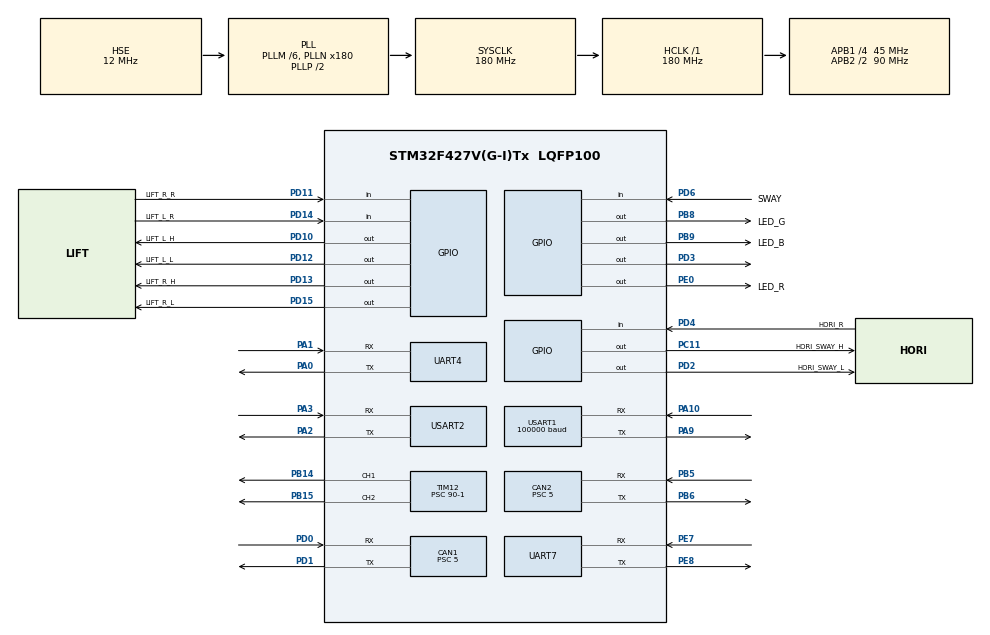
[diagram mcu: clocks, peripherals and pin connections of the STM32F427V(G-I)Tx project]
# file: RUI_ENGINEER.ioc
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CAN1.ABOM=ENABLE
CAN1.BS1=CAN_BS1_6TQ
CAN1.BS2=CAN_BS2_2TQ
CAN1.CalculateBaudRate=1000000
CAN1.CalculateTimeBit=1000
CAN1.CalculateTimeQuantum=111.11111111111111
CAN1.Prescaler=5
CAN2.ABOM=ENABLE
CAN2.BS1=CAN_BS1_6TQ
CAN2.BS2=CAN_BS2_2TQ
CAN2.CalculateBaudRate=1000000
CAN2.CalculateTimeBit=1000
CAN2.CalculateTimeQuantum=111.11111111111111
CAN2.Prescaler=5
Dma.Request0=USART1_RX
Dma.Request1=USART2_TX
Dma.Request2=USART2_RX
Dma.Request3=UART4_RX
Dma.UART4_RX.3.Direction=DMA_PERIPH_TO_MEMORY
Dma.UART4_RX.3.FIFOMode=DMA_FIFOMODE_DISABLE
Dma.UART4_RX.3.Instance=DMA1_Stream2
Dma.UART4_RX.3.MemDataAlignment=DMA_MDATAALIGN_BYTE
Dma.UART4_RX.3.MemInc=DMA_MINC_ENABLE
Dma.UART4_RX.3.Mode=DMA_NORMAL
Dma.UART4_RX.3.PeriphDataAlignment=DMA_PDATAALIGN_BYTE
Dma.UART4_RX.3.PeriphInc=DMA_PINC_DISABLE
Dma.UART4_RX.3.Priority=DMA_PRIORITY_LOW
Dma.USART1_RX.0.Direction=DMA_PERIPH_TO_MEMORY
Dma.USART1_RX.0.FIFOMode=DMA_FIFOMODE_DISABLE
Dma.USART1_RX.0.Instance=DMA2_Stream2
Dma.USART1_RX.0.MemDataAlignment=DMA_MDATAALIGN_BYTE
Dma.USART1_RX.0.MemInc=DMA_MINC_ENABLE
Dma.USART1_RX.0.Mode=DMA_NORMAL
Dma.USART1_RX.0.PeriphDataAlignment=DMA_PDATAALIGN_BYTE
Dma.USART1_RX.0.PeriphInc=DMA_PINC_DISABLE
Dma.USART1_RX.0.Priority=DMA_PRIORITY_LOW
Dma.USART2_RX.2.Direction=DMA_PERIPH_TO_MEMORY
Dma.USART2_RX.2.FIFOMode=DMA_FIFOMODE_DISABLE
Dma.USART2_RX.2.Instance=DMA1_Stream5
Dma.USART2_RX.2.MemDataAlignment=DMA_MDATAALIGN_BYTE
Dma.USART2_RX.2.MemInc=DMA_MINC_ENABLE
Dma.USART2_RX.2.Mode=DMA_NORMAL
Dma.USART2_RX.2.PeriphDataAlignment=DMA_PDATAALIGN_BYTE
Dma.USART2_RX.2.PeriphInc=DMA_PINC_DISABLE
Dma.USART2_RX.2.Priority=DMA_PRIORITY_LOW
Dma.USART2_TX.1.Direction=DMA_MEMORY_TO_PERIPH
Dma.USART2_TX.1.FIFOMode=DMA_FIFOMODE_DISABLE
Dma.USART2_TX.1.Instance=DMA1_Stream6
Dma.USART2_TX.1.MemDataAlignment=DMA_MDATAALIGN_BYTE
Dma.USART2_TX.1.MemInc=DMA_MINC_ENABLE
Dma.USART2_TX.1.Mode=DMA_NORMAL
Dma.USART2_TX.1.PeriphDataAlignment=DMA_PDATAALIGN_BYTE
Dma.USART2_TX.1.PeriphInc=DMA_PINC_DISABLE
Dma.USART2_TX.1.Priority=DMA_PRIORITY_LOW
FREERTOS.INCLUDE_vTaskDelayUntil=1
FREERTOS.Tasks01=read_task,0,256,Start_read,As weak,NULL,Dynamic,NULL,NULL;head_task,0,256,Start_head,As weak,NULL,Dynamic,NULL,NULL
FREERTOS.configTOTAL_HEAP_SIZE=4608
FREERTOS.configUSE_COUNTING_SEMAPHORES=1
FREERTOS.configUSE_RECURSIVE_MUTEXES=1
FREERTOS.configUSE_TIMERS=1
FREERTOS.configUSE_TRACE_FACILITY=1
Mcu.Family=STM32F4
Mcu.Name=STM32F427V(G-I)Tx
Mcu.Package=LQFP100
NVIC.CAN1_RX0_IRQn=true\:5\:0\:false\:false\:true\:true\:true\:true\:true
NVIC.CAN2_RX0_IRQn=true\:5\:0\:false\:false\:true\:true\:true\:true\:true
NVIC.DMA1_Stream2_IRQn=true\:5\:0\:false\:false\:true\:true\:false\:true\:true
NVIC.DMA1_Stream5_IRQn=true\:5\:0\:false\:false\:true\:true\:false\:true\:true
NVIC.DMA1_Stream6_IRQn=true\:5\:0\:false\:false\:true\:true\:false\:true\:true
NVIC.DMA2_Stream2_IRQn=true\:5\:0\:false\:false\:true\:true\:false\:true\:true
NVIC.PriorityGroup=NVIC_PRIORITYGROUP_4
NVIC.TIM1_BRK_TIM9_IRQn=true\:5\:0\:false\:false\:true\:true\:true\:true\:true
NVIC.TIM1_TRG_COM_TIM11_IRQn=true\:5\:0\:false\:false\:true\:true\:true\:true\:true
NVIC.TIM1_UP_TIM10_IRQn=true\:5\:0\:false\:false\:true\:true\:true\:true\:true
NVIC.TIM2_IRQn=true\:15\:0\:false\:false\:true\:false\:false\:true\:true
NVIC.TimeBase=TIM2_IRQn
NVIC.TimeBaseIP=TIM2
NVIC.UART4_IRQn=true\:5\:0\:false\:false\:true\:true\:true\:true\:true
NVIC.UART7_IRQn=true\:5\:0\:false\:false\:true\:true\:true\:true\:true
NVIC.USART1_IRQn=true\:5\:0\:false\:false\:true\:true\:true\:true\:true
NVIC.USART2_IRQn=true\:5\:0\:false\:false\:true\:true\:true\:true\:true
PA0/WKUP.Mode=Asynchronous
PA0/WKUP.Signal=UART4_TX
PA1.Mode=Asynchronous
PA1.Signal=UART4_RX
PA10.Mode=Asynchronous
PA10.Signal=USART1_RX
PA13.Mode=Serial_Wire
PA13.Signal=SYS_JTMS-SWDIO
PA14.Mode=Serial_Wire
PA14.Signal=SYS_JTCK-SWCLK
PA2.Mode=Asynchronous
PA2.Signal=USART2_TX
PA3.Mode=Asynchronous
PA3.Signal=USART2_RX
PA9.Mode=Asynchronous
PA9.Signal=USART1_TX
PB14.Signal=S_TIM12_CH1
PB15.Signal=S_TIM12_CH2
PB5.Mode=CAN_Activate
PB5.Signal=CAN2_RX
PB6.Mode=CAN_Activate
PB6.Signal=CAN2_TX
PB8.GPIO_Label=LED_G
PB8.Signal=GPIO_Output
PB9.GPIO_Label=LED_B
PB9.Signal=GPIO_Output
PC11.GPIO_Label=HORI_SWAY_H
PC11.Signal=GPIO_Output
PD0.Mode=CAN_Activate
PD0.Signal=CAN1_RX
PD1.Mode=CAN_Activate
PD1.Signal=CAN1_TX
PD10.GPIO_Label=LIFT_L_H
PD10.Signal=GPIO_Output
PD11.GPIO_Label=LIFT_R_R
PD11.Signal=GPIO_Input
PD12.GPIO_Label=LIFT_L_L
PD12.Signal=GPIO_Output
PD13.GPIO_Label=LIFT_R_H
PD13.Signal=GPIO_Output
PD14.GPIO_Label=LIFT_L_R
PD14.Signal=GPIO_Input
PD15.GPIO_Label=LIFT_R_L
PD15.Signal=GPIO_Output
PD2.GPIO_Label=HORI_SWAY_L
PD2.Signal=GPIO_Output
PD3.Signal=GPIO_Output
PD4.GPIO_Label=HORI_R
PD4.Signal=GPIO_Input
PD6.GPIO_Label=SWAY
PD6.Signal=GPIO_Input
PE0.GPIO_Label=LED_R
PE0.Signal=GPIO_Output
PE7.Mode=Asynchronous
PE7.Signal=UART7_RX
PE8.Mode=Asynchronous
PE8.Signal=UART7_TX
PH0/OSC_IN.Mode=HSE-External-Oscillator
PH0/OSC_IN.Signal=RCC_OSC_IN
PH1/OSC_OUT.Mode=HSE-External-Oscillator
PH1/OSC_OUT.Signal=RCC_OSC_OUT
ProjectManager.HeapSize=0x200
ProjectManager.StackSize=0x400
ProjectManager.TargetToolchain=MDK-ARM V5.32
RCC.48MHZClocksFreq_Value=90000000
RCC.AHBFreq_Value=180000000
RCC.APB1CLKDivider=RCC_HCLK_DIV4
RCC.APB1Freq_Value=45000000
RCC.APB1TimFreq_Value=90000000
RCC.APB2CLKDivider=RCC_HCLK_DIV2
RCC.APB2Freq_Value=90000000
RCC.APB2TimFreq_Value=180000000
RCC.CortexFreq_Value=180000000
RCC.HCLKFreq_Value=180000000
RCC.HSE_VALUE=12000000
RCC.HSI_VALUE=16000000
RCC.LSE_VALUE=32768
RCC.PLLM=6
RCC.PLLN=180
RCC.PLLSourceVirtual=RCC_PLLSOURCE_HSE
RCC.SYSCLKFreq_VALUE=180000000
RCC.SYSCLKSource=RCC_SYSCLKSOURCE_PLLCLK
RCC.VCOOutputFreq_Value=360000000
SH.S_TIM12_CH1.0=TIM12_CH1,PWM Generation1 CH1
SH.S_TIM12_CH2.0=TIM12_CH2,PWM Generation2 CH2
TIM10.Period=1100-1
TIM10.Prescaler=900-1
TIM11.Period=1000-1
TIM11.Prescaler=900-1
TIM12.Channel-PWM\ Generation1\ CH1=TIM_CHANNEL_1
TIM12.Channel-PWM\ Generation2\ CH2=TIM_CHANNEL_2
TIM12.Period=2000-1
TIM12.Prescaler=90-1
TIM9.Period=600-1
TIM9.Prescaler=900-1
UART4.VirtualMode=Asynchronous
UART7.VirtualMode=Asynchronous
USART1.BaudRate=100000
USART1.VirtualMode=VM_ASYNC
USART2.VirtualMode=VM_ASYNC
VP_CRC_VS_CRC.Mode=CRC_Activate
VP_FREERTOS_VS_CMSIS_V1.Mode=CMSIS_V1
VP_SYS_VS_tim2.Mode=TIM2
VP_TIM10_VS_ClockSourceINT.Mode=Enable_Timer
VP_TIM11_VS_ClockSourceINT.Mode=Enable_Timer
VP_TIM9_VS_ClockSourceINT.Mode=Internal
board=custom

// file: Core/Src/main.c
/* USER CODE BEGIN Header */

/* USER CODE END Header */
#include "main.h"
#include "cmsis_os.h"
#include "can.h"
#include "crc.h"
#include "dma.h"
#include "tim.h"
#include "usart.h"
#include "gpio.h"

/* USER CODE BEGIN Includes */
#include "RUI_CAN.h"
#include "stdio.h"
#include "RUI_ROOT_INIT.h"
#include "FFC.h"
#include "bsp_dwt.h"
#include "RUI_DBUS.h"
#include "RUI_MOTOR.h"
#include "RUI_ANONYMITY.h"
/* USER CODE END Includes */

void SystemClock_Config(void);
void MX_FREERTOS_Init(void);

int main(void)
{

  /* MCU Configuration--------------------------------------------------------*/

  /* Reset of all peripherals, Initializes the Flash interface and the Systick. */
  HAL_Init();

  /* Configure the system clock */
  SystemClock_Config();

  /* Initialize all configured peripherals */
  MX_GPIO_Init();
  MX_DMA_Init();
  MX_USART1_UART_Init();
  MX_CAN1_Init();
  MX_CAN2_Init();
  MX_USART2_UART_Init();
  MX_CRC_Init();
  MX_TIM11_Init();
  MX_TIM9_Init();
  MX_TIM10_Init();
  MX_UART4_Init();
  MX_TIM12_Init();
  MX_UART7_Init();
  /* USER CODE BEGIN 2 */
  //DTW初始化
  DWT_Init(168);

  //CAN初始化
  CAN_Filter_Init();

  //发送任务定时器
  HAL_TIM_Base_Start_IT(&htim9);
  HAL_TIM_Base_Start_IT(&htim10);
  HAL_TIM_Base_Start_IT(&htim11);

  //图传舵机
  HAL_TIM_PWM_Start(&htim12, TIM_CHANNEL_1);
  HAL_TIM_PWM_Start(&htim12, TIM_CHANNEL_2);

  //抬升复位，读PD11、PD14
  HAL_GPIO_WritePin(GPIOD , GPIO_PIN_10 , GPIO_PIN_SET);
  HAL_GPIO_WritePin(GPIOD , GPIO_PIN_12 , GPIO_PIN_RESET);

  HAL_GPIO_WritePin(GPIOD , GPIO_PIN_13 , GPIO_PIN_SET);
  HAL_GPIO_WritePin(GPIOD , GPIO_PIN_15 , GPIO_PIN_RESET);

  //前伸、横移复位，读PD4、PD6
  HAL_GPIO_WritePin(GPIOC , GPIO_PIN_11 , GPIO_PIN_SET);
  HAL_GPIO_WritePin(GPIOD , GPIO_PIN_2 , GPIO_PIN_RESET);

  RUI_V_CONTAL.TUCHUAN.pitch = WHW_DF_MG995_Pitch_up;
  RUI_V_CONTAL.TUCHUAN.yaw = WHW_DF_MG995_Yaw_up;

  /* USER CODE END 2 */

  /* Call init function for freertos objects (in freertos.c) */
  MX_FREERTOS_Init();

  /* Start scheduler */
  osKernelStart();

  /* We should never get here as control is now taken by the scheduler */
  /* Infinite loop */
  /* USER CODE BEGIN WHILE */
  while (1)
  {
//	  if (__HAL_UART_GET_FLAG(&huart4 , UART_FLAG_IDLE) == 1)
//	  HAL_UART_DMAStop(&huart4);
//    HAL_UART_Receive_DMA(&huart4 , receive.Data , 13);
//	RUI_V_Crotral_ONLINE_JUDGE_TIME = RUI_DF_Crotral_OFFLINE_TIME;
    /* USER CODE END WHILE */

  }
}

void SystemClock_Config(void)
{
  RCC_OscInitTypeDef RCC_OscInitStruct = {0};
  RCC_ClkInitTypeDef RCC_ClkInitStruct = {0};

  /** Configure the main internal regulator output voltage
  */
  __HAL_RCC_PWR_CLK_ENABLE();
  __HAL_PWR_VOLTAGESCALING_CONFIG(PWR_REGULATOR_VOLTAGE_SCALE1);

  /** Initializes the RCC Oscillators according to the specified parameters
  * in the RCC_OscInitTypeDef structure.
  */
  RCC_OscInitStruct.OscillatorType = RCC_OSCILLATORTYPE_HSE;
  RCC_OscInitStruct.HSEState = RCC_HSE_ON;
  RCC_OscInitStruct.PLL.PLLState = RCC_PLL_ON;
  RCC_OscInitStruct.PLL.PLLSource = RCC_PLLSOURCE_HSE;
  RCC_OscInitStruct.PLL.PLLM = 6;
  RCC_OscInitStruct.PLL.PLLN = 180;
  RCC_OscInitStruct.PLL.PLLP = RCC_PLLP_DIV2;
  RCC_OscInitStruct.PLL.PLLQ = 4;
  if (HAL_RCC_OscConfig(&RCC_OscInitStruct) != HAL_OK)
  {
    Error_Handler();
  }

  /** Activate the Over-Drive mode
  */
  if (HAL_PWREx_EnableOverDrive() != HAL_OK)
  {
    Error_Handler();
  }

  /** Initializes the CPU, AHB and APB buses clocks
  */
  RCC_ClkInitStruct.ClockType = RCC_CLOCKTYPE_HCLK|RCC_CLOCKTYPE_SYSCLK
                              |RCC_CLOCKTYPE_PCLK1|RCC_CLOCKTYPE_PCLK2;
  RCC_ClkInitStruct.SYSCLKSource = RCC_SYSCLKSOURCE_PLLCLK;
  RCC_ClkInitStruct.AHBCLKDivider = RCC_SYSCLK_DIV1;
  RCC_ClkInitStruct.APB1CLKDivider = RCC_HCLK_DIV4;
  RCC_ClkInitStruct.APB2CLKDivider = RCC_HCLK_DIV2;

  if (HAL_RCC_ClockConfig(&RCC_ClkInitStruct, FLASH_LATENCY_5) != HAL_OK)
  {
    Error_Handler();
  }
}

/* USER CODE BEGIN 4 */
uint8_t flag;
/* USER CODE END 4 */

void HAL_TIM_PeriodElapsedCallback(TIM_HandleTypeDef *htim)
{
  if (htim->Instance == TIM2) {
    HAL_IncTick();
  }
  /* USER CODE BEGIN Callback 1 */
  if (htim->Instance == TIM11){
	RUI_F_ROOT();
	HAL_UART_Transmit_DMA(&huart2,RUI_V_COMMUNICATION.Data,sizeof(RUI_V_COMMUNICATION.Data));
  }

  if (htim->Instance == TIM10){

    //CAN2发送（抬升、前伸）
    RUI_F_CAN_SEDN(&hcan2,0x200,
				RUI_V_MOTOR_HORIZONTAL_L.PID_S.All_out	+ FFC_ALL.HORIZONTAL_L.Output,
				RUI_V_MOTOR_HORIZONTAL_R.PID_S.All_out 	+ FFC_ALL.HORIZONTAL_R.Output,
				RUI_V_MOTOR_LIFT_L.PID_S.All_out 		+ FFC_ALL.LIFT_L.Output,
				RUI_V_MOTOR_LIFT_R.PID_S.All_out		+ FFC_ALL.LIFT_R.Output);

	HAL_GPIO_WritePin(GPIOD , GPIO_PIN_3 , RUI_V_CONTAL.HEAD.CUP_PUMP);

    //CAN1发送（横移,差动,Yaw）
	RUI_F_CAN_SEDN(&hcan1,0x1ff,
				RUI_V_MOTOR_SWAY.PID_S.All_out+FFC_ALL.SWAY.Output,
				RUI_V_MOTOR_Left.PID_S.All_out,
				RUI_V_MOTOR_Right.PID_S.All_out,
				RUI_V_MOTOR_Yaw.PID_S.All_out);

	Micro.LIFT_L = HAL_GPIO_ReadPin(GPIOD,GPIO_PIN_11);//set:1
	Micro.LIFT_R = HAL_GPIO_ReadPin(GPIOD,GPIO_PIN_14);//set:0
	Micro.SWAY_B   = HAL_GPIO_ReadPin(GPIOD,GPIO_PIN_6);//set:1
	Micro.SWAY_E = 1;//set:0

	__HAL_TIM_SET_COMPARE(&htim12 , TIM_CHANNEL_1 , RUI_V_CONTAL.TUCHUAN.yaw);//Yaw:向前，左加右减
	__HAL_TIM_SET_COMPARE(&htim12 , TIM_CHANNEL_2 , RUI_V_CONTAL.TUCHUAN.pitch);//Pitch:平视，下减上加

//	RUI_F_ANONYMITY_TX(RUI_V_CONTAL.User.Pitch , RUI_V_CONTAL.User.Roll , RUI_V_CONTAL.User.Yaw ,0,0,0,0,0,0);

  }
  if (htim->Instance == TIM9){
	flag++;
    if(flag > 5)
    {
	   RUI_F_CAN_SEDN(&hcan1,0x200,
				RUI_V_MOTOR_Camera.PID_S.All_out,
				0,
				0,
				0);
	   flag = 0;
    }

	}

  /* USER CODE END Callback 1 */
}

void Error_Handler(void)
{
  __disable_irq();
  while (1)
  {
  }
}

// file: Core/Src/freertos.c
/* USER CODE BEGIN Header */
/**
  ******************************************************************************
  * File Name          : freertos.c
  * Description        : Code for freertos applications
  ******************************************************************************
  * @attention
  *
  * Copyright (c) 2023 STMicroelectronics.
  * All rights reserved.
  *
  * This software is licensed under terms that can be found in the LICENSE file
  * in the root directory of this software component.
  * If no LICENSE file comes with this software, it is provided AS-IS.
  *
  ******************************************************************************
  */
/* USER CODE END Header */

#include "FreeRTOS.h"
#include "task.h"
#include "main.h"
#include "cmsis_os.h"

/* USER CODE BEGIN Includes */
#include "RUI_DBUS.h"
#include "head_task.h"

/* USER CODE END Includes */

osThreadId read_taskHandle;
osThreadId head_taskHandle;

void Start_read(void const * argument);
void Start_head(void const * argument);

void MX_FREERTOS_Init(void); /* (MISRA C 2004 rule 8.1) */

/* GetIdleTaskMemory prototype (linked to static allocation support) */
void vApplicationGetIdleTaskMemory( StaticTask_t **ppxIdleTaskTCBBuffer, StackType_t **ppxIdleTaskStackBuffer, uint32_t *pulIdleTaskStackSize );

/* GetTimerTaskMemory prototype (linked to static allocation support) */
void vApplicationGetTimerTaskMemory( StaticTask_t **ppxTimerTaskTCBBuffer, StackType_t **ppxTimerTaskStackBuffer, uint32_t *pulTimerTaskStackSize );

/* USER CODE BEGIN GET_IDLE_TASK_MEMORY */
static StaticTask_t xIdleTaskTCBBuffer;
static StackType_t xIdleStack[configMINIMAL_STACK_SIZE];

void vApplicationGetIdleTaskMemory( StaticTask_t **ppxIdleTaskTCBBuffer, StackType_t **ppxIdleTaskStackBuffer, uint32_t *pulIdleTaskStackSize )
{
  *ppxIdleTaskTCBBuffer = &xIdleTaskTCBBuffer;
  *ppxIdleTaskStackBuffer = &xIdleStack[0];
  *pulIdleTaskStackSize = configMINIMAL_STACK_SIZE;
  /* place for user code */
}
/* USER CODE END GET_IDLE_TASK_MEMORY */

/* USER CODE BEGIN GET_TIMER_TASK_MEMORY */
static StaticTask_t xTimerTaskTCBBuffer;
static StackType_t xTimerStack[configTIMER_TASK_STACK_DEPTH];

void vApplicationGetTimerTaskMemory( StaticTask_t **ppxTimerTaskTCBBuffer, StackType_t **ppxTimerTaskStackBuffer, uint32_t *pulTimerTaskStackSize )
{
  *ppxTimerTaskTCBBuffer = &xTimerTaskTCBBuffer;
  *ppxTimerTaskStackBuffer = &xTimerStack[0];
  *pulTimerTaskStackSize = configTIMER_TASK_STACK_DEPTH;
  /* place for user code */
}
/* USER CODE END GET_TIMER_TASK_MEMORY */

void MX_FREERTOS_Init(void) {

  /* Create the thread(s) */
  /* definition and creation of read_task */
  osThreadDef(read_task, Start_read, osPriorityNormal, 0, 256);
  read_taskHandle = osThreadCreate(osThread(read_task), NULL);

  /* definition and creation of head_task */
  osThreadDef(head_task, Start_head, osPriorityNormal, 0, 256);
  head_taskHandle = osThreadCreate(osThread(head_task), NULL);

}

__weak void Start_read(void const * argument)
{
  /* USER CODE BEGIN Start_read */
  /* Infinite loop */
  for(;;)
  {
	RUI_F_DUBS_Resovled(DBUS_RX_DATA);
	RUI_F_DUBSTOCONTAL(&RUI_V_DBUS , &RUI_V_CONTAL);
    osDelay(1);
  }
  /* USER CODE END Start_read */
}

__weak void Start_head(void const * argument)
{
  /* USER CODE BEGIN Start_head */
  /* Infinite loop */
  for(;;)
  {
	  RUI_F_TOTAL_CONTRAL();
    osDelay(1);
  }
  /* USER CODE END Start_head */
}
